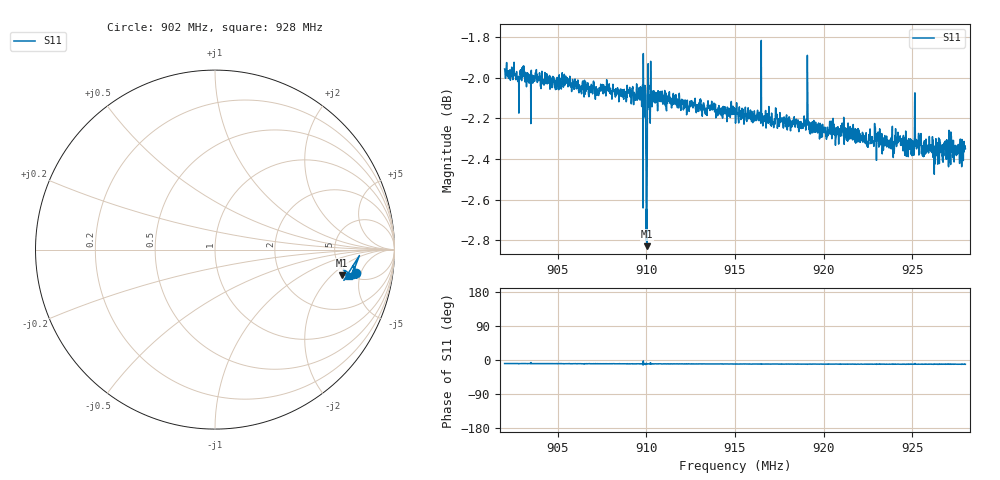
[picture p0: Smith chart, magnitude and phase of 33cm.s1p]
! Calibrated averaged scanner-service zoom
# Hz S RI R 50
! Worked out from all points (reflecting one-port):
!   2001 points, 902 MHz to 928 MHz, reference 50 ohm
!   lowest |S11| = -2.8 dB at 910.02 MHz (marker M1), VSWR 6.20, Z = 226 - j135 ohm
!   phase of S11 starts at -9 deg and turns -2 deg over the sweep
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9.02e8  0.7876 -0.1303
9.03495e8  0.7865 -0.1292
9.0525e8  0.785 -0.1355
9.0655e8  0.7759 -0.1321
9.085e8  0.7746 -0.1356
9.0967e8  0.7778 -0.1403
9.09683e8  0.7747 -0.1359
9.09709e8  0.7771 -0.1394
9.09826e8  0.8047 -0.0331
9.09917e8  0.7683 -0.1403
9.09956e8  0.7716 -0.1495
9.09969e8  0.7454 -0.1543
9.10021e8  0.7077 -0.1432
9.10099e8  0.7882 -0.1409
9.1019e8  0.7727 -0.1406
9.10476e8  0.7759 -0.1367
9.1175e8  0.7687 -0.1383
9.15e8  0.7676 -0.142
9.1825e8  0.7608 -0.1441
9.18861e8  0.7594 -0.1441
9.1903e8  0.7625 -0.1434
9.19264e8  0.7585 -0.1453
9.20135e8  0.7546 -0.1461
9.215e8  0.7586 -0.1468
9.2475e8  0.7475 -0.1464
9.25231e8  0.7523 -0.1472
9.25647e8  0.7515 -0.1466
9.28e8  0.7485 -0.1488
